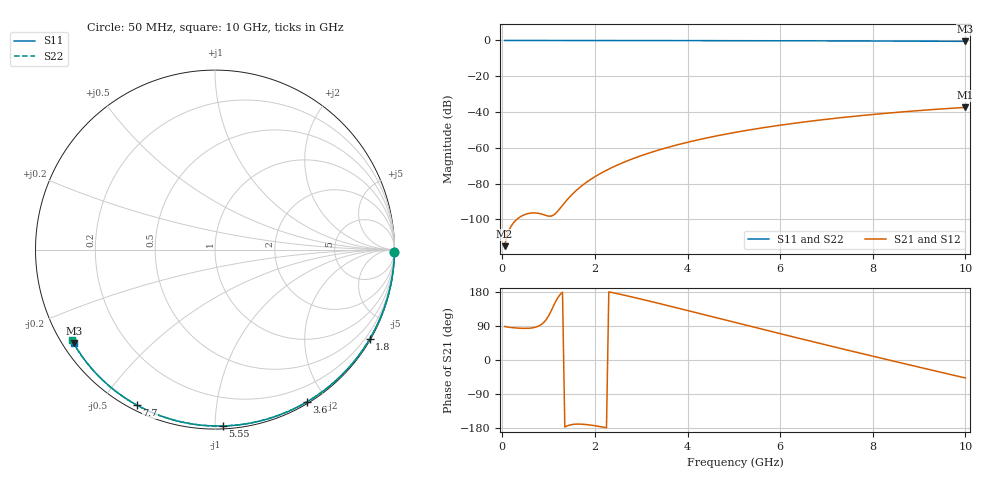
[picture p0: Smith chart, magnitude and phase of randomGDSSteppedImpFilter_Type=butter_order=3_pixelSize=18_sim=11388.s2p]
! freq	dB(S11)	phase(S11)	dB(S12)	phase(S12)
!  dB(S21)	phase(S21)	dB(S22)	phase(S22)
!S-par simulation data
#  GHz  S  DB  R 50
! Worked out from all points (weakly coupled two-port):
!   200 points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, 50 MHz to 10 GHz, reference 50 ohm
!   highest |S21| = -37.43 dB at 10 GHz (marker M1); lowest = -115.0 dB at 50 MHz (marker M2)
!   lowest |S11| = -0.5 dB at 10 GHz (marker M3), VSWR 35.01, Z = 1.56 - j15.1 ohm
!   |S11| at or under -10 dB: nowhere
!   |S22| runs from -0.5 to 0.0 dB; largest |S21 - S12| = 0
!   S11 on the Smith chart (normalised r, x): 50 MHz: open; 1.8 GHz: 0.03, -3.71; 3.6 GHz: 0.02, -1.77; 5.55 GHz: 0.02, -1.04; 7.7 GHz: 0.02, -0.62; 10 GHz: 0.03, -0.30
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0.05  -0.00 -0.9  -115.01 88.5  -115.01 88.5  -0.00 -0.9
0.45  -0.01 -7.7  -97.73 83.5  -97.73 83.5  -0.01 -7.7
0.9  -0.02 -15.2  -97.48 99.6  -97.48 99.6  -0.02 -15.2
1.3  -0.03 -21.9  -92.15 178.9  -92.15 178.9  -0.03 -21.9
1.75  -0.04 -29.3  -80.59 -169.7  -80.59 -169.7  -0.04 -29.4
1.8  -0.04 -30.2  -79.62 -170.2  -79.62 -170.2  -0.04 -30.2
1.95  -0.04 -32.6  -76.99 -172.4  -76.99 -172.4  -0.04 -32.6
2.1  -0.04 -35.1  -74.66 -175.4  -74.66 -175.4  -0.04 -35.1
2.3  -0.05 -38.3  -71.91 179.9  -71.91 179.9  -0.05 -38.3
2.5  -0.05 -41.5  -69.48 174.7  -69.48 174.7  -0.05 -41.6
2.9  -0.06 -47.9  -65.32 163.5  -65.32 163.5  -0.06 -47.9
3.4  -0.07 -55.7  -61.07 148.8  -61.07 148.8  -0.07 -55.8
3.6  -0.08 -58.8  -59.59 142.7  -59.59 142.7  -0.08 -58.9
4.3  -0.10 -69.4  -55.14 121.4  -55.14 121.4  -0.10 -69.5
5.05  -0.12 -80.4  -51.29 98.4  -51.29 98.4  -0.12 -80.6
5.55  -0.14 -87.5  -49.12 83.1  -49.12 83.1  -0.14 -87.8
6.1  -0.17 -95.2  -47.01 66.5  -47.01 66.5  -0.17 -95.5
6.7  -0.20 -103.4  -44.99 48.4  -44.99 48.4  -0.20 -103.8
7.7  -0.27 -116.7  -42.13 18.8  -42.13 18.8  -0.27 -117.3
8.35  -0.32 -125.1  -40.56 -0.1  -40.56 -0.1  -0.32 -125.9
9.2  -0.40 -136.1  -38.80 -24.6  -38.80 -24.6  -0.41 -137.1
10  -0.50 -146.4  -37.43 -47.4  -37.43 -47.4  -0.50 -147.6
